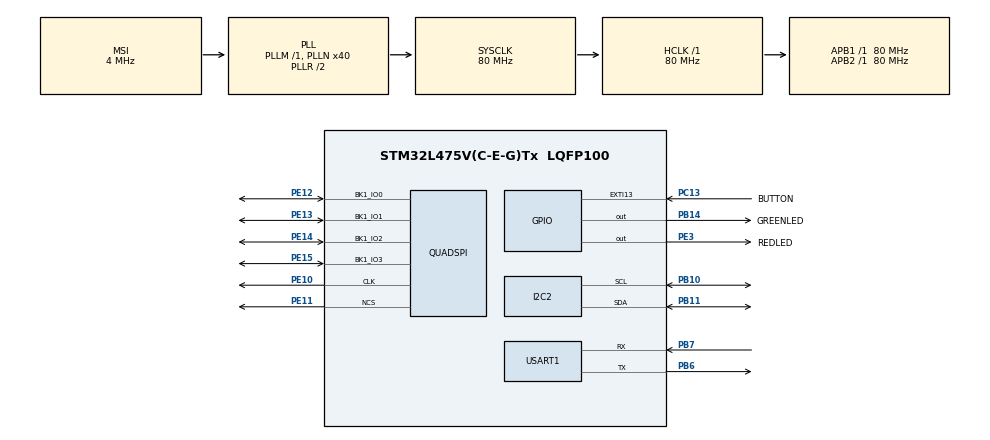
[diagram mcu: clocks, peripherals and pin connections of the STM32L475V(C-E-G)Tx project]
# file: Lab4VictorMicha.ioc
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FREERTOS.Tasks01=ReadSensorTask,0,128,ReadSensorVals,Default,NULL,Dynamic,NULL,NULL;UARTTransmitter,-3,128,StartUARTTransmitter,Default,NULL,Dynamic,NULL,NULL;Button_Sensor,-3,128,StartButton_Sensor,Default,NULL,Dynamic,NULL,NULL;SensorDataFlash,-3,128,SaveSensorDataToFlash,Default,NULL,Dynamic,NULL,NULL
I2C2.Timing=0x10909CEC
Mcu.Family=STM32L4
Mcu.Name=STM32L475V(C-E-G)Tx
Mcu.Package=LQFP100
NVIC.PriorityGroup=NVIC_PRIORITYGROUP_4
NVIC.TIM6_DAC_IRQn=true\:15\:0\:false\:false\:true\:false\:false\:true\:true
NVIC.TimeBase=TIM6_DAC_IRQn
NVIC.TimeBaseIP=TIM6
PB10.Mode=I2C
PB10.Signal=I2C2_SCL
PB11.Mode=I2C
PB11.Signal=I2C2_SDA
PB14.GPIO_Label=GREENLED
PB14.Signal=GPIO_Output
PB6.Mode=Asynchronous
PB6.Signal=USART1_TX
PB7.Mode=Asynchronous
PB7.Signal=USART1_RX
PC13.GPIO_Label=BUTTON
PC13.Signal=GPXTI13
PE10.Mode=Single Bank
PE10.Signal=QUADSPI_CLK
PE11.Mode=Single Bank
PE11.Signal=QUADSPI_NCS
PE12.Mode=Single Bank
PE12.Signal=QUADSPI_BK1_IO0
PE13.Mode=Single Bank
PE13.Signal=QUADSPI_BK1_IO1
PE14.Mode=Single Bank
PE14.Signal=QUADSPI_BK1_IO2
PE15.Mode=Single Bank
PE15.Signal=QUADSPI_BK1_IO3
PE3.GPIO_Label=REDLED
PE3.Signal=GPIO_Output
ProjectManager.HeapSize=0x200
ProjectManager.StackSize=0x400
ProjectManager.TargetToolchain=STM32CubeIDE
RCC.ADCFreq_Value=48000000
RCC.AHBFreq_Value=80000000
RCC.APB1Freq_Value=80000000
RCC.APB1TimFreq_Value=80000000
RCC.APB2Freq_Value=80000000
RCC.APB2TimFreq_Value=80000000
RCC.CortexFreq_Value=80000000
RCC.HCLKFreq_Value=80000000
RCC.HSE_VALUE=8000000
RCC.HSI_VALUE=16000000
RCC.LSE_VALUE=32768
RCC.MSI_VALUE=4000000
RCC.PLLN=40
RCC.PLLSAI1N=24
RCC.SYSCLKFreq_VALUE=80000000
RCC.SYSCLKSource=RCC_SYSCLKSOURCE_PLLCLK
RCC.USBFreq_Value=48000000
RCC.VCOOutputFreq_Value=160000000
USART1.VirtualMode-Asynchronous=VM_ASYNC
VP_FREERTOS_VS_CMSIS_V1.Mode=CMSIS_V1
VP_SYS_VS_tim6.Mode=TIM6
board=B-L475E-IOT01A1

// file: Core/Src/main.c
/* USER CODE BEGIN Header */
/**
 ******************************************************************************
 * @file           : main.c
 * @brief          : Main program body
 ******************************************************************************
 * @attention
 *
 * Copyright (c) 2023 STMicroelectronics.
 * All rights reserved.
 *
 * This software is licensed under terms that can be found in the LICENSE file
 * in the root directory of this software component.
 * If no LICENSE file comes with this software, it is provided AS-IS.
 *
 ******************************************************************************
 */
/* USER CODE END Header */
#include "main.h"
#include "cmsis_os.h"

/* USER CODE BEGIN Includes */

#include "stm32l475e_iot01_hsensor.h"
#include "stm32l475e_iot01_psensor.h"
#include "stm32l475e_iot01_tsensor.h"
#include "stm32l475e_iot01_magneto.h"
#include "stm32l475e_iot01_accelero.h"

//#include "stm32l475e_iot01.h"
//#include "stm32l4xx_hal_conf.h"
//#include "stm32l4xx_it.h"

#include "hsensor.h"
#include "psensor.h"
#include "tsensor.h"

#include "hts221.h"
#include "lps22hb.h"
#include "lis3mdl.h"
#include "lsm6dsl.h"

#include "stm32l475e_iot01_qspi.h"

/* USER CODE END Includes */

I2C_HandleTypeDef hi2c2;

QSPI_HandleTypeDef hqspi;

UART_HandleTypeDef huart1;

osThreadId ReadSensorTaskHandle;
osThreadId UARTTransmitterHandle;
osThreadId Button_SensorHandle;
osThreadId SensorDataFlashHandle;
/* USER CODE BEGIN PV */

float humidity, pressure;
int16_t magneto[3];//magneto is Pointer on 3 magnetometer values table with magneto[0] = X axis, magneto[1] = Y axis, magneto[2] = Z axis

int16_t accelero[3];//accelero Pointer on 3 angular accelerations table with accelero[0] = X axis, accelero[1] = Y axis, accelero[2] = Z axis

int pressed = 0;//0 -> not pressed, 1 -> pressed
int sensorOutput = 0;//to decide which sensor to display

char buffer[40];
int transmitted = 1; //1 if data already transmitted using UART

uint8_t* hum;
uint8_t* press;

uint8_t* magn;
uint8_t* acc;

const int sampleRateSensorHz = 10;//in Hz -> osDelay(100);//100ms to sample at rate of 10Hz
const int sampleRateSensorMs = 1000/sampleRateSensorHz;

//FLASH    (rx)    : ORIGIN = 0x8000000,   LENGTH = 1024K
const int FLASH_BASE_MEMORY = 134217728; //0x8000000;
const int FLASH_MEMORY_SIZE = 1024000;
uint32_t flashNextAvailableByte = FLASH_BASE_MEMORY;//pointer that keeps track of where to add to flash memory (like the stack pointer) (doesnt take into account that flash mem needs to be erased before written to)

int sensorValsRead = 0;//==1 if and only if sensorVals have been read and all sensor vars updated

int numBlocks = 2;//<=16 -> 16 total blocks in FLASH

/* USER CODE END PV */

void SystemClock_Config(void);
static void MX_GPIO_Init(void);
static void MX_I2C2_Init(void);
static void MX_USART1_UART_Init(void);
static void MX_QUADSPI_Init(void);
void ReadSensorVals(void const * argument);
void StartUARTTransmitter(void const * argument);
void StartButton_Sensor(void const * argument);
void SaveSensorDataToFlash(void const * argument);

int main(void)
{

	/* MCU Configuration--------------------------------------------------------*/

	/* Reset of all peripherals, Initializes the Flash interface and the Systick. */
	HAL_Init();

	/* Configure the system clock */
	SystemClock_Config();

	/* Initialize all configured peripherals */
	MX_GPIO_Init();
	MX_I2C2_Init();
	MX_USART1_UART_Init();
	MX_QUADSPI_Init();
	/* USER CODE BEGIN 2 */
	BSP_QSPI_Init();
	BSP_HSENSOR_Init();
	BSP_PSENSOR_Init();
	BSP_MAGNETO_Init();
	BSP_ACCELERO_Init();

	//FROM DOC: ->>>Again, flash must be erased before it can be written.

	//block == 64KB

	for (int i=0; i<numBlocks; i++) {
		if (BSP_QSPI_Erase_Block((uint32_t) i*64000)!= QSPI_OK)
			Error_Handler();
		//erases numBlocks blocks from flash
	}

	//------------TESTTTING-----------------------//

	/*float humidity1 = BSP_HSENSOR_ReadHumidity();
	float pressure1 = BSP_PSENSOR_ReadPressure();

	int* hum2;
	 *hum2 = (int) humidity1;
	char* temp = hum2;

	uint8_t *hum1 = malloc(4*sizeof(uint8_t));

	hum1[0] = temp[0];
	hum1[1] = temp[1];
	hum1[2] = temp[2];
	hum1[3] = temp[3];
	//uint8_t *press1 = malloc(4*sizeof(uint8_t));
	//hum1 = (uint8_t*)(&humidity1);
	//press1 = (uint8_t*)(&pressure1);

	sprintf(buffer, "!!!!!!!!!: %d %d %d %d", hum1[0], hum1[1], hum1[2], hum1[3]);

	HAL_UART_Transmit(&huart1,(uint8_t*) buffer, strlen(buffer), 1000);
	 */

	//-------------TESTTTING-----------//

	/* USER CODE END 2 */

	/* Create the thread(s) */
	/* definition and creation of ReadSensorTask */
	osThreadDef(ReadSensorTask, ReadSensorVals, osPriorityNormal, 0, 128);
	ReadSensorTaskHandle = osThreadCreate(osThread(ReadSensorTask), NULL);

	/* definition and creation of UARTTransmitter */
	osThreadDef(UARTTransmitter, StartUARTTransmitter, osPriorityIdle, 0, 128);
	UARTTransmitterHandle = osThreadCreate(osThread(UARTTransmitter), NULL);

	/* definition and creation of Button_Sensor */
	osThreadDef(Button_Sensor, StartButton_Sensor, osPriorityIdle, 0, 128);
	Button_SensorHandle = osThreadCreate(osThread(Button_Sensor), NULL);

	/* definition and creation of SensorDataFlash */
	osThreadDef(SensorDataFlash, SaveSensorDataToFlash, osPriorityIdle, 0, 128);
	SensorDataFlashHandle = osThreadCreate(osThread(SensorDataFlash), NULL);

	/* Start scheduler */
	osKernelStart();

	/* We should never get here as control is now taken by the scheduler */
	/* Infinite loop */
	while (1)
	{

		/* USER CODE BEGIN 3 */

		humidity = BSP_HSENSOR_ReadHumidity();
		pressure = BSP_PSENSOR_ReadPressure();
		BSP_MAGNETO_GetXYZ(magneto);
		BSP_ACCELERO_AccGetXYZ(accelero);
		HAL_Delay(100);//100ms to sample at rate of 10Hz

		if (HAL_GPIO_ReadPin(BUTTON_GPIO_Port, BUTTON_Pin) == GPIO_PIN_SET) {
			//if button released
			if (pressed) pressed = 0;

		}
		if (HAL_GPIO_ReadPin(BUTTON_GPIO_Port, BUTTON_Pin) != GPIO_PIN_SET) {
			//if button pressed

			if (!pressed) {
				pressed = 1;

				char buffer[40];

				if (sensorOutput%4==0){
					sprintf(buffer, "Humidity: %.2f ", humidity);
				} else if (sensorOutput%4==1){
					sprintf(buffer, "Pressure: %.2f ", pressure);
				} else if (sensorOutput%4==2) {
					//	sprintf(buffer, "Magneto: %.2f\n", magneto);
					sprintf(buffer,"Magnetometer Values: %d, %d, %d ", magneto[0], magneto[1], magneto[2]);
				} else {//if (sensorOutput%4==3)
					//	sprintf(buffer, "accelero: %.2f\n", accelero);
					sprintf(buffer,"Accelerometer Values: %d, %d, %d ", accelero[0],accelero[1],accelero[2]);
				}
				sensorOutput++;
				HAL_UART_Transmit(&huart1,(uint8_t*) buffer, strlen(buffer), 1000);
			}
		}

	}
	/* USER CODE END 3 */
}

void SystemClock_Config(void)
{
	RCC_OscInitTypeDef RCC_OscInitStruct = {0};
	RCC_ClkInitTypeDef RCC_ClkInitStruct = {0};

	/** Configure the main internal regulator output voltage
	 */
	if (HAL_PWREx_ControlVoltageScaling(PWR_REGULATOR_VOLTAGE_SCALE1) != HAL_OK)
	{
		Error_Handler();
	}

	/** Initializes the RCC Oscillators according to the specified parameters
	 * in the RCC_OscInitTypeDef structure.
	 */
	RCC_OscInitStruct.OscillatorType = RCC_OSCILLATORTYPE_MSI;
	RCC_OscInitStruct.MSIState = RCC_MSI_ON;
	RCC_OscInitStruct.MSICalibrationValue = 0;
	RCC_OscInitStruct.MSIClockRange = RCC_MSIRANGE_6;
	RCC_OscInitStruct.PLL.PLLState = RCC_PLL_ON;
	RCC_OscInitStruct.PLL.PLLSource = RCC_PLLSOURCE_MSI;
	RCC_OscInitStruct.PLL.PLLM = 1;
	RCC_OscInitStruct.PLL.PLLN = 40;
	RCC_OscInitStruct.PLL.PLLP = RCC_PLLP_DIV7;
	RCC_OscInitStruct.PLL.PLLQ = RCC_PLLQ_DIV2;
	RCC_OscInitStruct.PLL.PLLR = RCC_PLLR_DIV2;
	if (HAL_RCC_OscConfig(&RCC_OscInitStruct) != HAL_OK)
	{
		Error_Handler();
	}

	/** Initializes the CPU, AHB and APB buses clocks
	 */
	RCC_ClkInitStruct.ClockType = RCC_CLOCKTYPE_HCLK|RCC_CLOCKTYPE_SYSCLK
			|RCC_CLOCKTYPE_PCLK1|RCC_CLOCKTYPE_PCLK2;
	RCC_ClkInitStruct.SYSCLKSource = RCC_SYSCLKSOURCE_PLLCLK;
	RCC_ClkInitStruct.AHBCLKDivider = RCC_SYSCLK_DIV1;
	RCC_ClkInitStruct.APB1CLKDivider = RCC_HCLK_DIV1;
	RCC_ClkInitStruct.APB2CLKDivider = RCC_HCLK_DIV1;

	if (HAL_RCC_ClockConfig(&RCC_ClkInitStruct, FLASH_LATENCY_4) != HAL_OK)
	{
		Error_Handler();
	}
}

static void MX_I2C2_Init(void)
{

	hi2c2.Instance = I2C2;
	hi2c2.Init.Timing = 0x10909CEC;
	hi2c2.Init.OwnAddress1 = 0;
	hi2c2.Init.AddressingMode = I2C_ADDRESSINGMODE_7BIT;
	hi2c2.Init.DualAddressMode = I2C_DUALADDRESS_DISABLE;
	hi2c2.Init.OwnAddress2 = 0;
	hi2c2.Init.OwnAddress2Masks = I2C_OA2_NOMASK;
	hi2c2.Init.GeneralCallMode = I2C_GENERALCALL_DISABLE;
	hi2c2.Init.NoStretchMode = I2C_NOSTRETCH_DISABLE;
	if (HAL_I2C_Init(&hi2c2) != HAL_OK)
	{
		Error_Handler();
	}

	/** Configure Analogue filter
	 */
	if (HAL_I2CEx_ConfigAnalogFilter(&hi2c2, I2C_ANALOGFILTER_ENABLE) != HAL_OK)
	{
		Error_Handler();
	}

	/** Configure Digital filter
	 */
	if (HAL_I2CEx_ConfigDigitalFilter(&hi2c2, 0) != HAL_OK)
	{
		Error_Handler();
	}

}

static void MX_QUADSPI_Init(void)
{

	/* QUADSPI parameter configuration*/
	hqspi.Instance = QUADSPI;
	hqspi.Init.ClockPrescaler = 255;
	hqspi.Init.FifoThreshold = 1;
	hqspi.Init.SampleShifting = QSPI_SAMPLE_SHIFTING_NONE;
	hqspi.Init.FlashSize = 1;
	hqspi.Init.ChipSelectHighTime = QSPI_CS_HIGH_TIME_1_CYCLE;
	hqspi.Init.ClockMode = QSPI_CLOCK_MODE_0;
	if (HAL_QSPI_Init(&hqspi) != HAL_OK)
	{
		Error_Handler();
	}

}

static void MX_USART1_UART_Init(void)
{

	huart1.Instance = USART1;
	huart1.Init.BaudRate = 115200;
	huart1.Init.WordLength = UART_WORDLENGTH_8B;
	huart1.Init.StopBits = UART_STOPBITS_1;
	huart1.Init.Parity = UART_PARITY_NONE;
	huart1.Init.Mode = UART_MODE_TX_RX;
	huart1.Init.HwFlowCtl = UART_HWCONTROL_NONE;
	huart1.Init.OverSampling = UART_OVERSAMPLING_16;
	huart1.Init.OneBitSampling = UART_ONE_BIT_SAMPLE_DISABLE;
	huart1.AdvancedInit.AdvFeatureInit = UART_ADVFEATURE_NO_INIT;
	if (HAL_UART_Init(&huart1) != HAL_OK)
	{
		Error_Handler();
	}

}

static void MX_GPIO_Init(void)
{
	GPIO_InitTypeDef GPIO_InitStruct = {0};

	/* GPIO Ports Clock Enable */
	__HAL_RCC_GPIOE_CLK_ENABLE();
	__HAL_RCC_GPIOC_CLK_ENABLE();
	__HAL_RCC_GPIOB_CLK_ENABLE();

	/*Configure GPIO pin Output Level */
	HAL_GPIO_WritePin(REDLED_GPIO_Port, REDLED_Pin, GPIO_PIN_RESET);

	/*Configure GPIO pin Output Level */
	HAL_GPIO_WritePin(GREENLED_GPIO_Port, GREENLED_Pin, GPIO_PIN_RESET);

	/*Configure GPIO pin : REDLED_Pin */
	GPIO_InitStruct.Pin = REDLED_Pin;
	GPIO_InitStruct.Mode = GPIO_MODE_OUTPUT_PP;
	GPIO_InitStruct.Pull = GPIO_NOPULL;
	GPIO_InitStruct.Speed = GPIO_SPEED_FREQ_LOW;
	HAL_GPIO_Init(REDLED_GPIO_Port, &GPIO_InitStruct);

	/*Configure GPIO pin : BUTTON_Pin */
	GPIO_InitStruct.Pin = BUTTON_Pin;
	GPIO_InitStruct.Mode = GPIO_MODE_IT_RISING;
	GPIO_InitStruct.Pull = GPIO_NOPULL;
	HAL_GPIO_Init(BUTTON_GPIO_Port, &GPIO_InitStruct);

	/*Configure GPIO pin : GREENLED_Pin */
	GPIO_InitStruct.Pin = GREENLED_Pin;
	GPIO_InitStruct.Mode = GPIO_MODE_OUTPUT_PP;
	GPIO_InitStruct.Pull = GPIO_NOPULL;
	GPIO_InitStruct.Speed = GPIO_SPEED_FREQ_LOW;
	HAL_GPIO_Init(GREENLED_GPIO_Port, &GPIO_InitStruct);

	/* USER CODE BEGIN MX_GPIO_Init_2 */
	HAL_GPIO_WritePin(REDLED_GPIO_Port, REDLED_Pin, GPIO_PIN_SET);
	/* USER CODE END MX_GPIO_Init_2 */
}

void ReadSensorVals(void const * argument)
{
	/* USER CODE BEGIN 5 */
	/* Infinite loop */
	for(;;)
	{
		osDelay(sampleRateSensorMs);

		if (!sensorValsRead) {

			humidity = BSP_HSENSOR_ReadHumidity();
			pressure = BSP_PSENSOR_ReadPressure();
			BSP_MAGNETO_GetXYZ(magneto);
			BSP_ACCELERO_AccGetXYZ(accelero);

			hum = &humidity;
			press = &pressure;

			magn = magneto;

			acc = accelero;

			/*
			 *hum = (uint8_t) humidity;
			 *press = (uint8_t) pressure;

			magn[0] = (uint8_t) magneto[0];
			magn[1] = (uint8_t) magneto[1];
			magn[2] = (uint8_t) magneto[2];

			acc[0] = (uint8_t) accelero[0];
			acc[1] = (uint8_t) accelero[1];
			acc[2] = (uint8_t) accelero[2];
			 */
			sensorValsRead = 1;
		}
	}
	/* USER CODE END 5 */
}

void StartUARTTransmitter(void const * argument)
{
	/* USER CODE BEGIN StartUARTTransmitter */
	/* Infinite loop */
	for(;;)
	{
		osDelay(50);
		if (!transmitted) {
			//print to terminal
			HAL_UART_Transmit(&huart1,(uint8_t*) buffer, strlen(buffer), 1000);
			transmitted = 1;
		}
	}
	/* USER CODE END StartUARTTransmitter */
}

void StartButton_Sensor(void const * argument)
{
	/* USER CODE BEGIN StartButton_Sensor */
	/* Infinite loop */
	for(;;)
	{
		osDelay(25);//check button pressed every 1/40 second
		if (HAL_GPIO_ReadPin(BUTTON_GPIO_Port, BUTTON_Pin) == GPIO_PIN_SET) {
			//if button released
			if (pressed) pressed = 0;
		}
		if (HAL_GPIO_ReadPin(BUTTON_GPIO_Port, BUTTON_Pin) != GPIO_PIN_SET) {
			//if button pressed
			if (!pressed) {
				pressed = 1;
				if (sensorOutput%4==0){
					sprintf(buffer, "Humidity: %d ", (int) humidity);
				} else if (sensorOutput%4==1){
					sprintf(buffer, "Pressure: %d ", (int) pressure);
				} else if (sensorOutput%4==2) {
					//	sprintf(buffer, "Magneto: %.2f\n", magneto);
					sprintf(buffer,"Magnetometer Values: %d, %d, %d ", magneto[0], magneto[1], magneto[2]);
				} else {//if (sensorOutput%4==3)
					//	sprintf(buffer, "accelero: %.2f\n", accelero);
					sprintf(buffer,"Accelerometer Values: %d, %d, %d ", accelero[0],accelero[1],accelero[2]);
				}
				sensorOutput++;
				transmitted = 0;
			}
		}
	}
	/* USER CODE END StartButton_Sensor */
}

void SaveSensorDataToFlash(void const * argument)
{
	/* USER CODE BEGIN SaveSensorDataToFlash */
	/* Infinite loop */
	for(;;)
	{
		osDelay(sampleRateSensorMs);

		if (sensorValsRead) {
			uint32_t sizeUint8_t = (uint32_t) sizeof(uint8_t);

			//adding total of 20*sizeUint8_t to flash per iteration

			//if (flashNextAvailableByte+20*sizeUint8_t>=FLASH_BASE_MEMORY+FLASH_MEMORY_SIZE || flashNextAvailableByte+20*sizeUint8_t>=64000*numBlocks){break;}

			//if (BSP_QSPI_Write(hum, flashNextAvailableByte, 4*sizeUint8_t) != QSPI_OK)
		//		Error_Handler();

/*

			if (BSP_QSPI_Write(press, (uint32_t) (flashNextAvailableByte+4*sizeUint8_t), 4*sizeUint8_t) != QSPI_OK)
				Error_Handler();

			if (BSP_QSPI_Write(magn, (uint32_t) (flashNextAvailableByte+8*sizeUint8_t), (uint32_t) 6*sizeUint8_t) != QSPI_OK)
				Error_Handler();

			if (BSP_QSPI_Write(acc, (uint32_t) (flashNextAvailableByte+14*sizeUint8_t), (uint32_t) 6*sizeUint8_t) != QSPI_OK)
				Error_Handler();
*/
			//flashNextAvailableByte+= 20*sizeUint8_t;

			sensorValsRead = 0;

		}

	}
	/* USER CODE END SaveSensorDataToFlash */
}

void HAL_TIM_PeriodElapsedCallback(TIM_HandleTypeDef *htim)
{
	if (htim->Instance == TIM6) {
		HAL_IncTick();
	}
}

void Error_Handler(void)
{
	/* USER CODE BEGIN Error_Handler_Debug */
	/* User can add his own implementation to report the HAL error return state */
	HAL_GPIO_WritePin(REDLED_GPIO_Port, REDLED_Pin, GPIO_PIN_RESET);
	__BKPT();
	//turns on a red LED, and then halts the debugger with a breakpoint instruction

	__disable_irq();
	while (1)
	{
	}
	/* USER CODE END Error_Handler_Debug */
}
